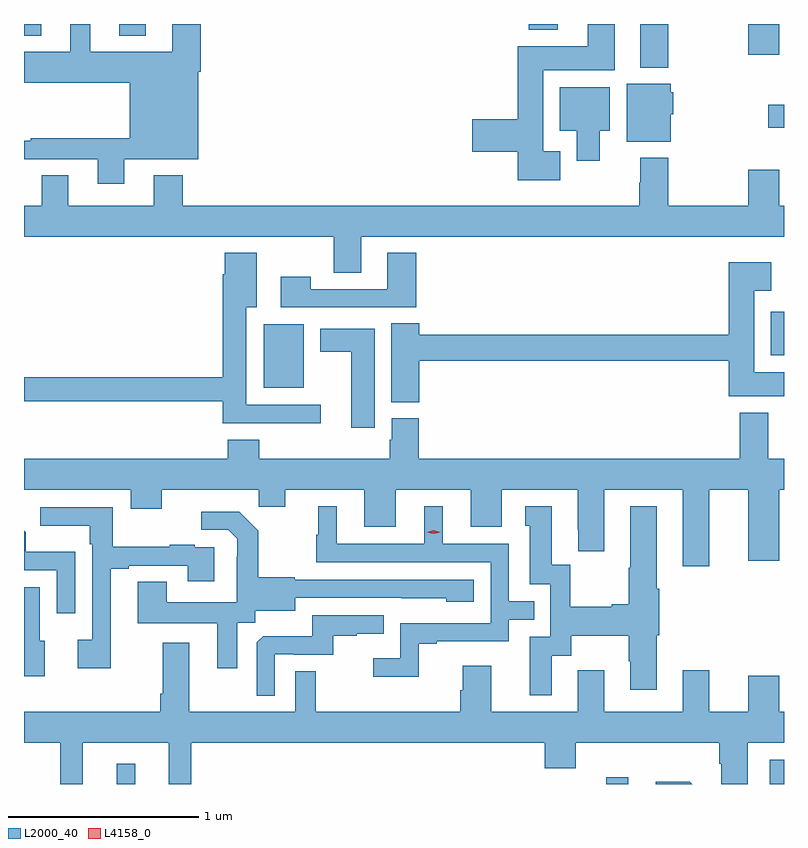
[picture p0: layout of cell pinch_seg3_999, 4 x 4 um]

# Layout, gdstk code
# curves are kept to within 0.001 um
import gdstk
lib = gdstk.Library(unit=1e-6, precision=1e-09)
def R(c, l, rs):  # rectangles x0, y0, x1, y1
    for r in rs: c.add(gdstk.rectangle(r[:2], r[2:], *l))
def P(c, l, *ps):  # polygons
    for p in ps: c.add(gdstk.Polygon(p, *l))
L2000_40 = (2000, 40)
L4158_0 = (4158, 0)

pinch_seg3_999 = lib.new_cell('pinch_seg3_999')
R(pinch_seg3_999, L2000_40, [(413.433,667.4,413.53,667.507), (416.01,667.4,416.125,667.435), (416.871,667.4,416.945,667.527), (414.206,669.485,414.418,669.82), (416.876,669.656,416.945,669.886), (416.862,670.853,416.945,670.975), (416.189,671.171,416.337,671.4), (416.756,671.238,416.92,671.4), (412.945,671.339,413.035,671.4), (413.447,671.339,413.587,671.4), (415.601,671.369,415.753,671.4)])
P(pinch_seg3_999, L2000_40, [(413.473,670.688),(413.863,670.688),(413.863,671.15),(413.876,671.15),(413.876,671.4),(413.726,671.4),(413.726,671.254),(413.293,671.254),(413.293,671.4),(413.189,671.4),(413.189,671.254),(412.945,671.254),(412.945,671.09),(413.501,671.09),(413.501,670.798),(412.981,670.798),(412.981,670.785),(412.945,670.785),(412.945,670.689),(413.333,670.689),(413.333,670.56),(413.473,670.56)],
  [(415.768,670.729),(415.678,670.729),(415.678,671.156),(416.053,671.156),(416.053,671.4),(415.913,671.4),(415.913,671.284),(415.544,671.284),(415.544,670.898),(415.305,670.898),(415.305,670.727),(415.544,670.727),(415.544,670.577),(415.768,670.577)],
  [(416.35,670.926),(416.362,670.926),(416.362,671.04),(416.35,671.04),(416.35,671.086),(416.117,671.086),(416.117,670.781),(416.35,670.781)],
  [(415.975,670.838),(416.029,670.838),(416.029,671.068),(415.766,671.068),(415.766,670.838),(415.853,670.838),(415.853,670.68),(415.975,670.68)],
  [(414.721,670.28),(416.945,670.28),(416.945,670.444),(416.92,670.444),(416.92,670.633),(416.756,670.633),(416.756,670.444),(416.337,670.444),(416.337,670.696),(416.189,670.696),(416.189,670.565),(416.182,670.565),(416.182,670.444),(413.78,670.444),(413.78,670.603),(413.627,670.603),(413.627,670.444),(413.179,670.444),(413.179,670.604),(413.039,670.604),(413.039,670.444),(412.945,670.444),(412.945,670.28),(414.574,670.28),(414.574,670.09),(414.721,670.09)],
  [(415.01,670.195),(414.857,670.195),(414.857,670.005),(414.453,670.005),(414.453,670.069),(414.297,670.069),(414.297,669.909),(415.01,669.909)],
  [(414.508,669.396),(414.115,669.396),(414.115,669.908),(414.169,669.908),(414.169,670.195),(414.002,670.195),(414.002,670.082),(413.99,670.082),(413.99,669.542),(412.945,669.542),(412.945,669.414),(413.99,669.414),(413.99,669.299),(414.508,669.299)],
  [(415.025,669.628),(416.654,669.628),(416.654,669.44),(416.945,669.44),(416.945,669.568),(416.788,669.568),(416.788,669.995),(416.878,669.995),(416.878,670.147),(416.654,670.147),(416.654,669.764),(415.025,669.764),(415.025,669.824),(414.878,669.824),(414.878,669.409),(415.025,669.409)],
  [(414.79,669.796),(414.503,669.796),(414.503,669.674),(414.668,669.674),(414.668,669.276),(414.79,669.276)],
  [(416.551,668.948),(416.756,668.948),(416.756,668.574),(416.92,668.574),(416.92,668.948),(416.945,668.948),(416.945,669.112),(416.863,669.112),(416.863,669.355),(416.711,669.355),(416.711,669.112),(415.022,669.112),(415.022,669.324),(414.881,669.324),(414.881,669.213),(414.869,669.213),(414.869,669.112),(414.182,669.112),(414.182,669.211),(414.017,669.211),(414.017,669.112),(412.945,669.112),(412.945,668.948),(413.507,668.948),(413.507,668.849),(413.671,668.849),(413.671,668.948),(414.181,668.948),(414.181,668.858),(414.319,668.858),(414.319,668.948),(414.737,668.948),(414.737,668.754),(414.901,668.754),(414.901,668.948),(415.295,668.948),(415.295,668.754),(415.459,668.754),(415.459,668.948),(415.859,668.948),(415.859,668.737),(415.862,668.737),(415.862,668.625),(415.999,668.625),(415.999,668.948),(416.411,668.948),(416.411,668.547),(416.551,668.547)],
  [(415.023,668.139),(415.117,668.139),(415.117,668.151),(415.497,668.151),(415.497,668.265),(415.631,668.265),(415.631,668.361),(415.497,668.361),(415.497,668.664),(415.15,668.664),(415.15,668.863),(415.052,668.863),(415.052,668.664),(414.592,668.664),(414.592,668.863),(414.494,668.863),(414.494,668.712),(414.483,668.712),(414.483,668.568),(415.401,668.568),(415.401,668.247),(414.924,668.247),(414.924,668.062),(414.783,668.062),(414.783,667.964),(415.023,667.964)],
  [(415.723,668.074),(415.825,668.074),(415.825,668.18),(416.128,668.18),(416.128,668.046),(416.135,668.046),(416.135,667.896),(416.275,667.896),(416.275,668.184),(416.288,668.184),(416.288,668.428),(416.275,668.428),(416.275,668.863),(416.135,668.863),(416.135,668.537),(416.128,668.537),(416.128,668.345),(416.039,668.345),(416.039,668.332),(415.821,668.332),(415.821,668.555),(415.723,668.555),(415.723,668.863),(415.583,668.863),(415.583,668.76),(415.607,668.76),(415.607,668.451),(415.716,668.451),(415.716,668.175),(415.607,668.175),(415.607,667.866),(415.723,667.866)],
  [(413.401,668.532),(413.497,668.532),(413.497,668.55),(413.807,668.55),(413.807,668.466),(413.947,668.466),(413.947,668.646),(413.843,668.646),(413.843,668.659),(413.711,668.659),(413.711,668.648),(413.413,668.648),(413.413,668.856),(413.031,668.856),(413.031,668.759),(413.292,668.759),(413.292,668.663),(413.304,668.663),(413.304,668.158),(413.229,668.158),(413.229,668.01),(413.401,668.01)],
  [(414.067,668.248),(414.162,668.248),(414.162,668.312),(414.373,668.312),(414.373,668.379),(415.167,668.378),(415.167,668.36),(415.312,668.36),(415.312,668.475),(414.369,668.475),(414.369,668.488),(414.177,668.488),(414.177,668.733),(414.077,668.833),(413.877,668.833),(413.877,668.739),(414.021,668.739),(414.068,668.692),(414.068,668.597),(414.066,668.597),(414.066,668.356),(413.695,668.356),(413.695,668.465),(413.543,668.465),(413.543,668.246),(413.963,668.246),(413.963,668.01),(414.067,668.01)],
  [(413.214,668.623),(412.953,668.623),(412.953,668.726),(412.945,668.734),(412.945,668.526),(413.118,668.526),(413.118,668.298),(413.214,668.298)],
  [(413.053,668.154),(413.028,668.154),(413.028,668.436),(412.945,668.436),(412.945,667.967),(413.053,667.967)],
  [(414.264,668.082),(414.364,668.082),(414.364,668.079),(414.572,668.079),(414.572,668.181),(414.695,668.181),(414.695,668.192),(414.839,668.192),(414.839,668.289),(414.462,668.289),(414.462,668.177),(414.203,668.177),(414.171,668.145),(414.171,667.865),(414.264,667.865)],
  [(413.255,667.616),(413.708,667.616),(413.708,667.4),(413.825,667.4),(413.825,667.616),(415.685,667.616),(415.685,667.483),(415.85,667.483),(415.85,667.616),(416.603,667.616),(416.603,667.507),(416.616,667.507),(416.616,667.4),(416.755,667.4),(416.755,667.616),(416.945,667.616),(416.945,667.78),(416.92,667.78),(416.92,667.969),(416.756,667.969),(416.756,667.78),(416.551,667.78),(416.551,667.999),(416.411,667.999),(416.411,667.78),(415.999,667.78),(415.999,667.999),(415.859,667.999),(415.859,667.78),(415.405,667.78),(415.405,668.023),(415.253,668.023),(415.253,667.893),(415.241,667.893),(415.241,667.78),(414.481,667.78),(414.481,667.994),(414.372,667.994),(414.372,667.78),(413.815,667.78),(413.815,668.143),(413.675,668.143),(413.675,667.876),(413.663,667.876),(413.663,667.78),(412.945,667.78),(412.945,667.616),(413.137,667.616),(413.137,667.4),(413.255,667.4)],
  [(416.449,667.412),(416.271,667.412),(416.271,667.4),(416.461,667.4)])
P(pinch_seg3_999, L4158_0, [(415.101,668.716),(415.066,668.725),(415.065,668.726),(415.066,668.726),(415.101,668.736),(415.137,668.726),(415.137,668.726),(415.137,668.725)])

lib.write_gds('pinch_seg3_999.gds')
